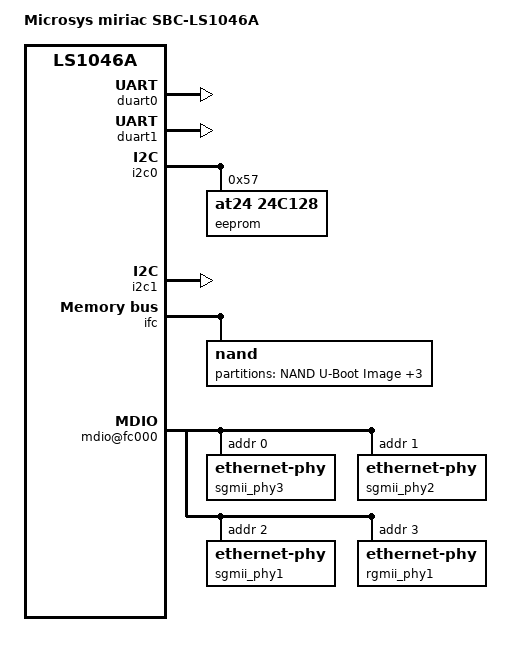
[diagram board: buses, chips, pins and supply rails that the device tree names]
// SPDX-License-Identifier: (GPL-2.0+ OR MIT)

/dts-v1/;

#include "fsl-ls1046a.dtsi"
#include "fsl-ls1046a-miriac-mpxls1046.dtsi"

/ {
	model = "Microsys miriac SBC-LS1046A";
	compatible = "microsys,sbc1046a", "microsys,mpxls1046a", "fsl,ls1046a";

	aliases {
		ethernet0 = &enet2;
		ethernet1 = &enet4;
		ethernet2 = &enet5;
		ethernet3 = &enet6;
		serial0 = &duart0;
		serial1 = &duart1;
		serial2 = &duart2;
		serial3 = &duart3;
	};

	chosen {
		stdout-path = "serial0:115200n8";
	};
};

&duart0 {
	status = "okay";
};

&duart1 {
	status = "okay";
};

&i2c0 {
	status = "okay";

	eeprom@57 {
		compatible = "at24,24c128";
		reg = <0x57>;
	};
};

&i2c1 {
	status = "okay";
};

&ifc {
	nand@0,0 {
		partition@0 {
			reg = <0x0 0x00100000>;
			label = "NAND U-Boot Image";
			read-only;
		};

		partition@100000 {
			reg = <0x00100000 0x00100000>;
			label = "NAND U-Boot Env";
		};

		partition@200000 {
			reg = <0x00200000 0x01E00000>;
			label = "NAND FIT Image";
		};

		partition@02000000 {
			reg = <0x02000000 0x1e000000>;
			label = "NAND (RW) UBIFS Root File System";
		};
	};
};

#include "fsl-ls1046-post.dtsi"

&fman0 {
	compatible = "fsl,fman", "simple-bus";

	ethernet@e4000 {
		phy-handle = <&rgmii_phy1>;
		phy-connection-type = "rgmii";
	};

	ethernet@e8000 {
		phy-handle = <&sgmii_phy1>;
		phy-connection-type = "sgmii";
	};

	ethernet@ea000 {
		phy-handle = <&sgmii_phy2>;
		phy-connection-type = "sgmii";
	};

	ethernet@f0000 {
		phy-handle = <&sgmii_phy3>;
		phy-connection-type = "sgmii";
	};

	mdio@fc000 {
		sgmii_phy3: ethernet-phy@0 {
			reg = <0>;
		};

		sgmii_phy2: ethernet-phy@1 {
			reg = <1>;
		};

		sgmii_phy1: ethernet-phy@2 {
			reg = <2>;
		};

		rgmii_phy1: ethernet-phy@3 {
			reg = <3>;
		};
	};
};
